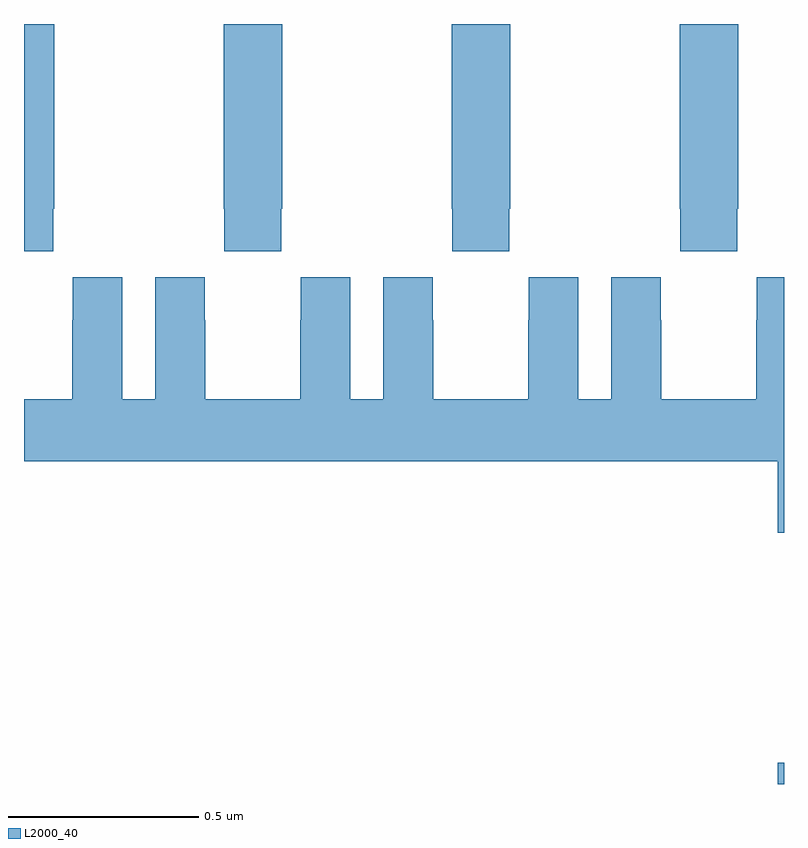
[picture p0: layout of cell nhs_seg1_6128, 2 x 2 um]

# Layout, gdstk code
import gdstk
lib = gdstk.Library(unit=1e-6, precision=1e-09)
def R(c, l, rs):  # rectangles x0, y0, x1, y1
    for r in rs: c.add(gdstk.rectangle(r[:2], r[2:], *l))
def P(c, l, *ps):  # polygons
    for p in ps: c.add(gdstk.Polygon(p, *l))
L2000_40 = (2000, 40)

nhs_seg1_6128 = lib.new_cell('nhs_seg1_6128')
R(nhs_seg1_6128, L2000_40, [(188.984,568.199,189,568.255)])
P(nhs_seg1_6128, L2000_40, [(187.077,569.713),(187.08,569.713),(187.08,570.199),(187,570.199),(187,569.601),(187.077,569.601)],
  [(187.677,569.713),(187.68,569.713),(187.68,570.199),(187.525,570.199),(187.525,569.713),(187.527,569.713),(187.527,569.601),(187.677,569.601)],
  [(188.277,569.713),(188.28,569.713),(188.28,570.199),(188.125,570.199),(188.125,569.713),(188.127,569.713),(188.127,569.601),(188.277,569.601)],
  [(188.877,569.713),(188.88,569.713),(188.88,570.199),(188.725,570.199),(188.725,569.713),(188.727,569.713),(188.727,569.601),(188.877,569.601)],
  [(187.946,569.533),(187.946,569.212),(187.858,569.212),(187.858,569.533),(187.728,569.533),(187.728,569.42),(187.727,569.42),(187.727,569.212),(187.477,569.212),(187.477,569.42),(187.476,569.42),(187.476,569.533),(187.346,569.533),(187.346,569.212),(187.258,569.212),(187.258,569.533),(187.128,569.533),(187.128,569.42),(187.127,569.42),(187.127,569.212),(187,569.212),(187,569.048),(188.984,569.048),(188.984,568.86),(189,568.86),(189,569.533),(188.928,569.533),(188.928,569.42),(188.927,569.42),(188.927,569.212),(188.677,569.212),(188.677,569.42),(188.676,569.42),(188.676,569.533),(188.546,569.533),(188.546,569.212),(188.458,569.212),(188.458,569.533),(188.328,569.533),(188.328,569.42),(188.327,569.42),(188.327,569.212),(188.077,569.212),(188.077,569.42),(188.076,569.42),(188.076,569.533)])

lib.write_gds('nhs_seg1_6128.gds')
